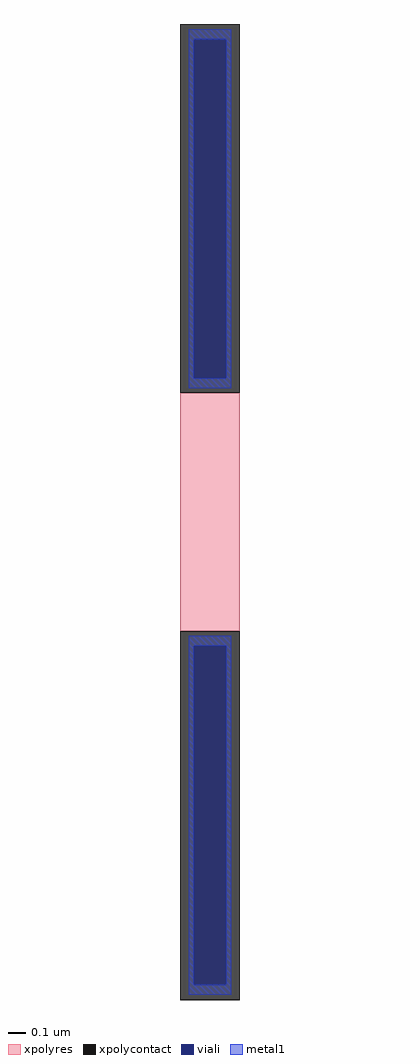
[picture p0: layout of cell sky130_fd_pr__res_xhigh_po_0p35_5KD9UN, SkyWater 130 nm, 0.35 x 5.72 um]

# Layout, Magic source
magic
tech sky130B
magscale 1 2
<< xpolycontact >>
rect -35 140 35 572
rect -35 -572 35 -140
<< xpolyres >>
rect -35 -140 35 140
<< viali >>
rect -19 157 19 554
rect -19 -554 19 -157
<< metal1 >>
rect -25 554 25 566
rect -25 157 -19 554
rect 19 157 25 554
rect -25 145 25 157
rect -25 -157 25 -145
rect -25 -554 -19 -157
rect 19 -554 25 -157
rect -25 -566 25 -554
<< properties >>
string gencell sky130_fd_pr__res_xhigh_po_0p35
string library sky130
string parameters w 0.350 l 1.562 m 1 nx 1 wmin 0.350 lmin 0.50 class resistor rho 2000 val 10.001k dummy 0 dw 0.0 term 188.2 sterm 0.0 caplen 0 wmax 0.350 guard 0 glc 0 grc 0 gtc 0 gbc 0 compatible {sky130_fd_pr__res_xhigh_po_0p35  sky130_fd_pr__res_xhigh_po_0p69 sky130_fd_pr__res_xhigh_po_1p41  sky130_fd_pr__res_xhigh_po_2p85 sky130_fd_pr__res_xhigh_po_5p73} snake 0 full_metal 0 n_guard 0 hv_guard 0 vias 1 viagb 0 viagt 0 viagl 0 viagr 0
<< end >>
